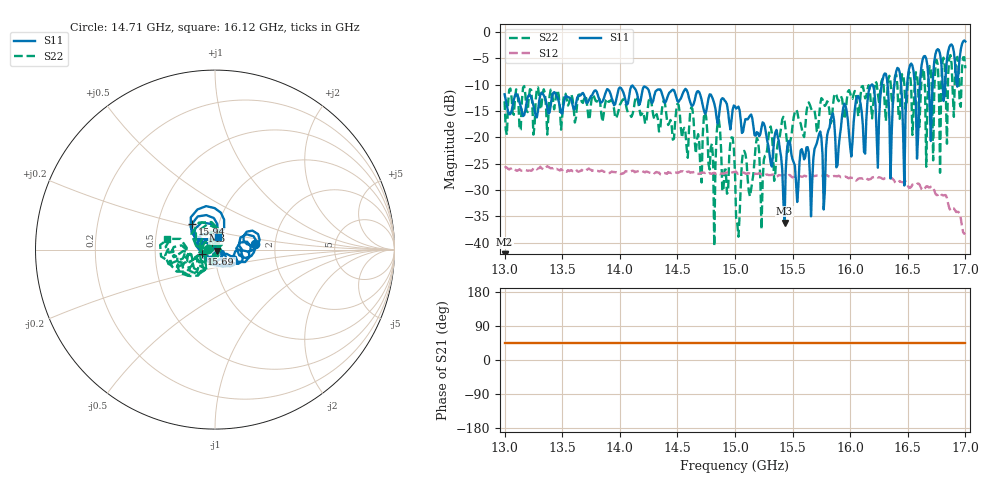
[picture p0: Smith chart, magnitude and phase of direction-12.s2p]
!Keysight Technologies,P9374A,MY57211810,A.19.30.04
!Date: Friday, May 02, 2025 08:58:00
!Correction: S11(Off)
!S21(Off)
!S12(Off)
!S22(Off)
!S2P File: Measurements: S11, S21, S12, S22:
# Hz S  dB  R 50
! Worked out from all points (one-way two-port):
!   401 points, 13 GHz to 17 GHz, reference 50 ohm
!   highest |S21| = - dB at 13 GHz (marker M1); lowest = - dB at 13 GHz (marker M2)
!   lowest |S11| = -36.3 dB at 15.43 GHz (marker M3), VSWR 1.03, Z = 51.4 - j0.685 ohm
!   |S11| at or under -10 dB: start of sweep to 16.19 GHz; 16.19 GHz to 16.27 GHz (82.6 MHz wide, 0.509 % of centre); 16.32411 GHz to 16.38281 GHz (58.7 MHz wide, 0.359 % of centre) (the widest 3 of 8)
!   |S22| runs from -40.6 to -4.4 dB; largest |S21 - S12| = 0.053
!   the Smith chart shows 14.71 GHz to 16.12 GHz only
!   S11 on the Smith chart (normalised r, x): 14.71 GHz: 1.58, +0.10; 15.69 GHz: 0.86, -0.04; 15.94 GHz: 0.74, +0.22; 16.12 GHz: 1.02, +0.15
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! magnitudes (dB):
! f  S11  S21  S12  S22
! 13 GHz  -11.8  -  -25.8  -13.2
! 13.67 GHz  -11.7  -  -26.2  -13.3
! 14.34 GHz  -10.9  -  -26.7  -18.9
! 14.71 GHz  -12.9  -  -26.7  -28.6
! 15 GHz  -14.1  -  -26.6  -26.7
! 15.03 GHz  -14.2  -  -26.9  -38.8
! 15.08 GHz  -17.6  -  -26.7  -22.6
! 15.24 GHz  -17.2  -  -27.0  -28.5
! 15.43 GHz  -36.3  -  -27.2  -16.9
! 15.67 GHz  -28.4  -  -27.1  -15.0
! 15.69 GHz  -22.2  -  -27.4  -14.9
! 15.94 GHz  -14.3  -  -27.5  -14.5
! 16.12 GHz  -22.7  -  -27.7  -11.3
! 16.3 GHz  -7.9  -  -27.8  -14.0
! 16.34 GHz  -16.4  -  -27.7  -8.3
! 16.41 GHz  -6.8  -  -28.6  -10.3
! 16.47 GHz  -29.1  -  -28.4  -9.9
! 16.52 GHz  -6.3  -  -29.6  -7.9
! 16.58 GHz  -24.0  -  -28.8  -7.9
! 16.64 GHz  -4.6  -  -29.9  -7.6
! 16.7 GHz  -20.7  -  -29.4  -7.2
! 17 GHz  -1.8  -  -38.1  -6.9
